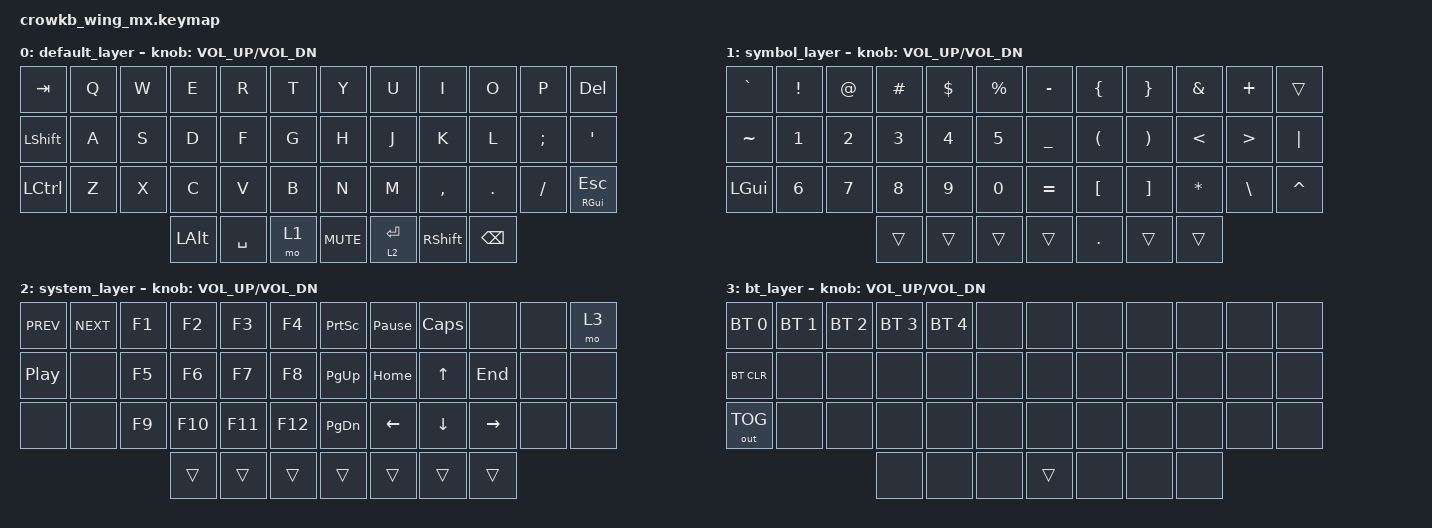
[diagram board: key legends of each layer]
#include <behaviors.dtsi>
#include <dt-bindings/zmk/keys.h>
#include <dt-bindings/zmk/bt.h>
#include <dt-bindings/zmk/outputs.h>

/ {
    keymap {
        compatible = "zmk,keymap";

        default_layer {
            bindings = <
    &kp TAB     &kp Q   &kp W   &kp E       &kp R       &kp T               &kp Y       &kp U       &kp I       &kp O   &kp P       &kp DEL
    &kp LSHFT   &kp A   &kp S   &kp D       &kp F       &kp G               &kp H       &kp J       &kp K       &kp L   &kp SEMI    &kp SQT
    &kp LCTRL   &kp Z   &kp X   &kp C       &kp V       &kp B               &kp N       &kp M       &kp COMMA   &kp DOT &kp FSLH    &mt RGUI ESC
                                &kp LALT    &kp SPACE   &mo 1   &kp C_MUTE  &lt 2 RET   &kp RSHFT   &kp BSPC
            >;
            sensor-bindings = <&inc_dec_kp C_VOL_UP C_VOL_DN>;
        };    
        
        symbol_layer {
            bindings = <
    &kp GRAVE   &kp EXCL    &kp AT  &kp HASH    &kp DLLR    &kp PRCNT       &kp MINUS   &kp LBRC    &kp RBRC    &kp AMPS    &kp PLUS    &trans
    &kp TILDE   &kp N1      &kp N2  &kp N3      &kp N4      &kp N5          &kp UNDER   &kp LPAR    &kp RPAR    &kp LT      &kp GT      &kp PIPE
    &kp LGUI    &kp N6      &kp N7  &kp N8      &kp N9      &kp N0          &kp EQUAL   &kp LBKT    &kp RBKT    &kp STAR    &kp BSLH    &kp CARET
                                    &trans      &trans      &trans  &trans  &kp DOT     &trans      &trans
            >;
            sensor-bindings = <&inc_dec_kp C_VOL_UP C_VOL_DN>;
        };
        
        system_layer {
            bindings = <
    &kp C_PREV  &kp C_NEXT  &kp F1  &kp F2  &kp F3  &kp F4          &kp PSCRN   &kp PAUSE_BREAK &kp CAPS    &none       &none   &mo 3
    &kp C_PP    &none       &kp F5  &kp F6  &kp F7  &kp F8          &kp PG_UP   &kp HOME        &kp UP      &kp END     &none   &none
    &none       &none       &kp F9  &kp F10 &kp F11 &kp F12         &kp PG_DN   &kp LEFT        &kp DOWN    &kp RIGHT   &none   &none
                                    &trans  &trans  &trans  &trans  &trans      &trans          &trans
            >;
            sensor-bindings = <&inc_dec_kp C_VOL_UP C_VOL_DN>;
        };
        
        bt_layer {
            bindings = <
    &bt BT_SEL 0    &bt BT_SEL 1    &bt BT_SEL 2    &bt BT_SEL 3    &bt BT_SEL 4    &none           &none   &none   &none   &none   &none   &none
    &bt BT_CLR      &none           &none           &none           &none           &none           &none   &none   &none   &none   &none   &none
    &out OUT_TOG    &none           &none           &none           &none           &none           &none   &none   &none   &none   &none   &none
                                                    &none           &none           &none   &trans  &none   &none   &none
            >;
             sensor-bindings = <&inc_dec_kp C_VOL_UP C_VOL_DN>;
        };
    };
}; 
